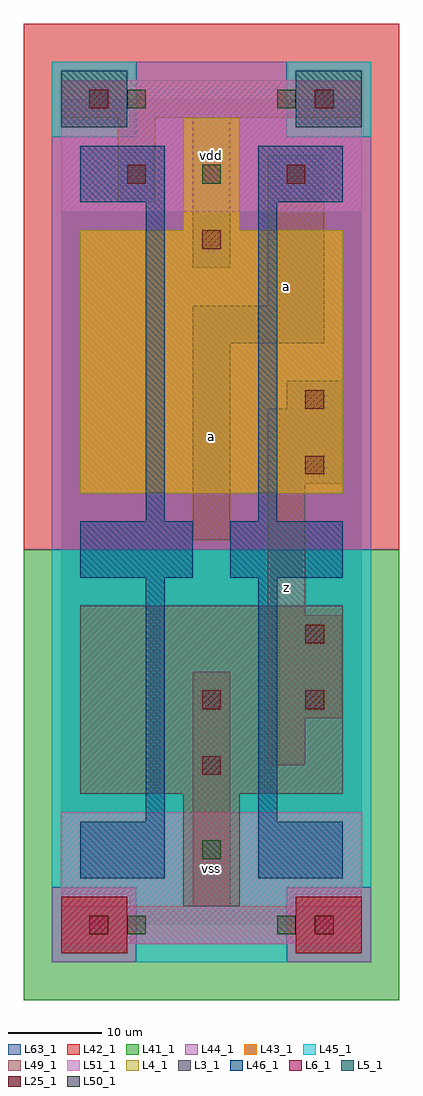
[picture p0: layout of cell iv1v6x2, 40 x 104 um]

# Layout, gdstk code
import gdstk
lib = gdstk.Library(unit=1e-6, precision=1e-09)
def R(c, l, rs):  # rectangles x0, y0, x1, y1
    for r in rs: c.add(gdstk.rectangle(r[:2], r[2:], *l))
L3_1 = (3, 1)
L4_1 = (4, 1)
L5_1 = (5, 1)
L6_1 = (6, 1)
L25_1 = (25, 1)
L41_1 = (41, 1)
L42_1 = (42, 1)
L43_1 = (43, 1)
L44_1 = (44, 1)
L45_1 = (45, 1)
L46_1 = (46, 1)
L49_1 = (49, 1)
L50_1 = (50, 1)
L51_1 = (51, 1)
L63_1 = (63, 1)

iv1v6x2 = lib.new_cell('iv1v6x2')
R(iv1v6x2, L3_1, [(13,2,19,14), (2,14,30,34)])
R(iv1v6x2, L4_1, [(2,46,30,74), (13,74,19,86)])
R(iv1v6x2, L5_1, [(0,85,7,91), (25,85,32,91)])
R(iv1v6x2, L6_1, [(0,-3,7,3), (0,-3,7,3), (25,-3,32,3), (25,-3,32,3)])
R(iv1v6x2, L25_1, [(3,-1,5,1), (27,-1,29,1), (15,16,17,18), (15,23,17,25), (26,23,28,25), (26,30,28,32), (26,48,28,50), (26,55,28,57), (15,72,17,74), (7,79,9,81), (24,79,26,81), (3,87,5,89), (27,87,29,89)])
R(iv1v6x2, L41_1, [(-4,-8,36,40)])
R(iv1v6x2, L42_1, [(-4,40,36,96)])
R(iv1v6x2, L43_1, [(0,-3,7,3), (25,-3,32,3), (13,2,19,14), (2,14,30,34), (2,46,30,74), (13,74,19,86), (0,85,7,91), (25,85,32,91)])
R(iv1v6x2, L44_1, [(-1,-4,8,4), (24,-4,33,4), (-1,40,33,84), (8,84,24,92)])
R(iv1v6x2, L45_1, [(8,-4,24,4), (-1,4,33,40), (-1,84,8,92), (24,84,33,92)])
R(iv1v6x2, L46_1, [(2,5,11,11), (21,5,30,11), (9,11,11,37), (21,11,23,37), (2,37,14,43), (18,37,30,43), (9,43,11,77), (21,43,23,77), (2,77,11,83), (21,77,30,83)])
R(iv1v6x2, L49_1, [(0,-2,32,2), (14,2,18,27), (22,17,26,22), (22,22,30,33), (22,33,26,47), (14,41,18,62), (22,47,30,55), (24,55,30,58), (14,62,28,66), (22,66,28,82), (14,70,18,86), (6,77,10,86), (0,86,32,90)])
R(iv1v6x2, L50_1, [(7,-1,9,1), (23,-1,25,1), (15,7,17,9), (15,79,17,81), (7,87,9,89), (23,87,25,89)])
R(iv1v6x2, L51_1, [(0,-2,32,12), (0,76,32,90)])
R(iv1v6x2, L63_1, [(0,0,32,88)])
iv1v6x2.add(gdstk.Label('a', (16,52), layer=49, texttype=1))
iv1v6x2.add(gdstk.Label('z', (24,36), layer=49, texttype=1))
iv1v6x2.add(gdstk.Label('a', (24,68), layer=49, texttype=1))
iv1v6x2.add(gdstk.Label('vss', (16,6), layer=51, texttype=1))
iv1v6x2.add(gdstk.Label('vss', (16,6), layer=51, texttype=1))
iv1v6x2.add(gdstk.Label('vdd', (16,82), layer=51, texttype=1))

lib.write_gds('iv1v6x2.gds')
